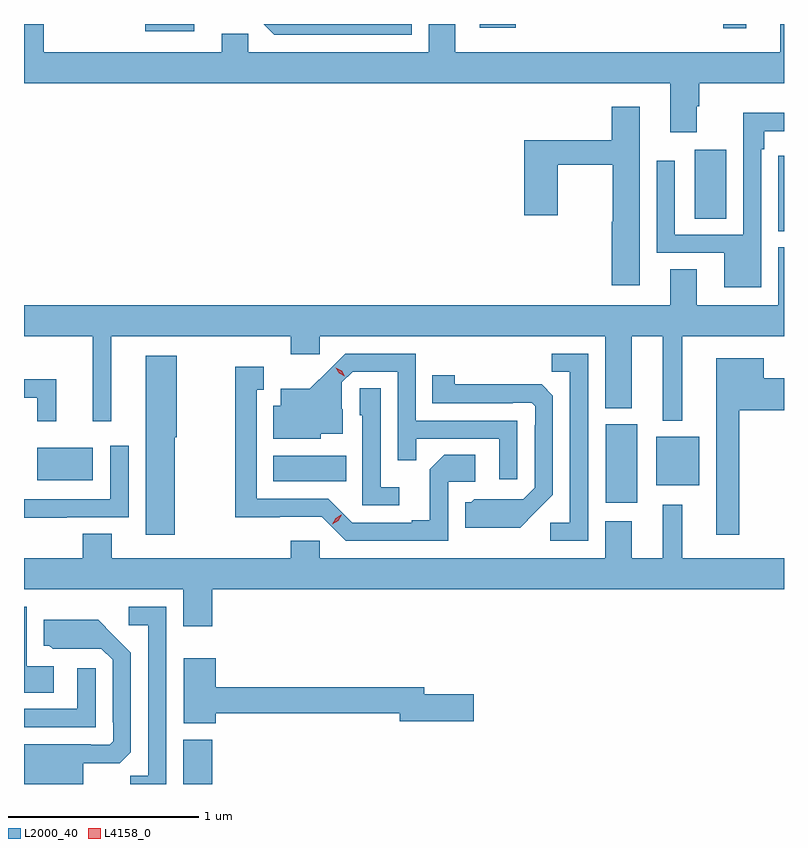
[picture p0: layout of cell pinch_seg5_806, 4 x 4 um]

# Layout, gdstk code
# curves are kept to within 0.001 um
import gdstk
lib = gdstk.Library(unit=1e-6, precision=1e-09)
def R(c, l, rs):  # rectangles x0, y0, x1, y1
    for r in rs: c.add(gdstk.rectangle(r[:2], r[2:], *l))
def P(c, l, *ps):  # polygons
    for p in ps: c.add(gdstk.Polygon(p, *l))
L2000_40 = (2000, 40)
L4158_0 = (4158, 0)

pinch_seg5_806 = lib.new_cell('pinch_seg5_806')
R(pinch_seg5_806, L2000_40, [(804.008,893.032,804.161,893.266), (806.231,894.513,806.398,894.925), (806.498,894.605,806.725,894.859), (804.482,894.626,804.866,894.76), (803.24,894.632,803.533,894.802), (806.699,896.008,806.866,896.371), (803.809,896.994,804.067,897.032), (806.85,897.009,806.971,897.032), (805.569,897.012,805.757,897.032)])
P(pinch_seg5_806, L2000_40, [(807.17,897.032),(807.149,897.032),(807.149,896.884),(805.441,896.884),(805.441,897.032),(805.301,897.032),(805.301,896.884),(804.351,896.884),(804.351,896.982),(804.212,896.982),(804.212,896.884),(803.273,896.884),(803.273,897.032),(803.17,897.032),(803.17,896.72),(806.57,896.72),(806.57,896.463),(806.71,896.463),(806.71,896.6),(806.723,896.6),(806.723,896.72),(807.17,896.72)],
  [(805.212,897.032),(804.432,897.032),(804.488,896.976),(805.212,896.976)],
  [(806.41,896.596),(806.264,896.596),(806.264,896.419),(805.802,896.419),(805.802,896.025),(805.98,896.025),(805.98,896.29),(806.269,896.29),(806.269,895.991),(806.264,895.991),(806.264,895.656),(806.41,895.656)],
  [(807.051,896.372),(807.067,896.372),(807.067,896.468),(807.17,896.468),(807.17,896.566),(806.955,896.566),(806.955,895.923),(806.595,895.923),(806.595,896.311),(806.499,896.311),(806.499,895.827),(806.855,895.827),(806.855,895.646),(807.051,895.646)],
  [(807.17,896.338),(807.141,896.338),(807.141,896.225),(807.14,896.225),(807.14,895.942),(807.17,895.942)],
  [(803.63,895.388),(804.575,895.388),(804.575,895.293),(804.726,895.293),(804.726,895.388),(806.228,895.388),(806.228,895.01),(806.368,895.01),(806.368,895.388),(806.531,895.388),(806.531,894.944),(806.635,894.944),(806.635,895.388),(807.17,895.388),(807.17,895.857),(807.14,895.857),(807.14,895.552),(806.71,895.552),(806.71,895.742),(806.57,895.742),(806.57,895.552),(803.17,895.552),(803.17,895.388),(803.531,895.388),(803.531,894.942),(803.63,894.942)],
  [(805.767,894.945),(805.233,894.945),(805.233,895.296),(804.86,895.296),(804.673,895.111),(804.521,895.111),(804.521,895.024),(804.482,895.024),(804.482,894.848),(804.732,894.848),(804.732,894.875),(804.847,894.875),(804.847,895.004),(804.843,895.004),(804.843,895.146),(804.9,895.203),(805.137,895.203),(805.137,894.736),(805.235,894.736),(805.235,894.849),(805.671,894.849),(805.671,894.636),(805.767,894.636)],
  [(806.139,895.296),(805.948,895.296),(805.948,895.201),(806.043,895.201),(806.043,894.408),(805.941,894.408),(805.941,894.312),(806.139,894.312)],
  [(803.964,894.858),(803.974,894.858),(803.974,895.285),(803.81,895.285),(803.81,894.345),(803.964,894.345)],
  [(806.935,894.998),(807.17,894.998),(807.17,895.168),(807.064,895.168),(807.064,895.273),(806.813,895.273),(806.813,894.345),(806.935,894.345)],
  [(805.404,894.624),(805.546,894.624),(805.546,894.764),(805.381,894.764),(805.305,894.688),(805.305,894.421),(805.211,894.421),(805.211,894.408),(804.897,894.408),(804.771,894.534),(804.394,894.534),(804.394,895.107),(804.433,895.107),(804.433,895.228),(804.283,895.228),(804.283,894.437),(804.738,894.438),(804.864,894.312),(805.404,894.312)],
  [(805.861,894.461),(805.953,894.554),(805.953,895.076),(805.894,895.135),(805.437,895.136),(805.437,895.183),(805.318,895.183),(805.318,895.035),(805.742,895.035),(805.742,895.038),(805.842,895.038),(805.86,895.02),(805.86,894.92),(805.857,894.92),(805.857,894.591),(805.797,894.531),(805.54,894.532),(805.524,894.516),(805.493,894.516),(805.493,894.38),(805.781,894.38)],
  [(803.339,895.161),(803.17,895.161),(803.17,895.065),(803.241,895.065),(803.241,894.942),(803.339,894.942)],
  [(805.144,894.595),(805.047,894.595),(805.047,895.115),(804.936,895.115),(804.936,894.972),(804.951,894.972),(804.951,894.498),(805.144,894.498)],
  [(803.396,894.435),(803.721,894.435),(803.721,894.811),(803.625,894.811),(803.625,894.531),(803.17,894.531),(803.17,894.434),(803.396,894.434)],
  [(804.161,894.056),(807.17,894.056),(807.17,894.22),(806.635,894.22),(806.635,894.502),(806.531,894.502),(806.531,894.22),(806.368,894.22),(806.368,894.415),(806.228,894.415),(806.228,894.22),(804.726,894.22),(804.726,894.313),(804.575,894.313),(804.575,894.22),(803.632,894.22),(803.632,894.35),(803.48,894.35),(803.48,894.22),(803.17,894.22),(803.17,894.056),(804.008,894.056),(804.008,893.862),(804.161,893.862)],
  [(803.326,893.652),(803.184,893.652),(803.184,893.964),(803.17,893.964),(803.17,893.512),(803.326,893.512)],
  [(803.919,893.964),(803.721,893.964),(803.721,893.868),(803.823,893.868),(803.823,893.075),(803.728,893.075),(803.728,893.032),(803.919,893.032)],
  [(803.482,893.141),(803.674,893.141),(803.733,893.2),(803.733,893.722),(803.561,893.896),(803.273,893.896),(803.273,893.76),(803.304,893.76),(803.32,893.744),(803.577,893.745),(803.637,893.685),(803.637,893.356),(803.64,893.356),(803.64,893.256),(803.622,893.238),(803.522,893.238),(803.522,893.242),(803.17,893.242),(803.17,893.032),(803.482,893.032)],
  [(804.178,893.404),(805.148,893.404),(805.148,893.362),(805.537,893.362),(805.537,893.504),(805.276,893.504),(805.276,893.54),(804.178,893.54),(804.178,893.695),(804.011,893.695),(804.011,893.351),(804.178,893.351)],
  [(803.547,893.641),(803.451,893.641),(803.451,893.427),(803.17,893.427),(803.17,893.331),(803.547,893.331)])
P(pinch_seg5_806, L4158_0, [(804.858,895.178),(804.828,895.194),(804.811,895.223),(804.811,895.224),(804.811,895.224),(804.842,895.208),(804.858,895.178),(804.858,895.178)],
  [(804.793,894.398),(804.793,894.398),(804.81,894.431),(804.841,894.45),(804.842,894.45),(804.842,894.449),(804.824,894.417),(804.793,894.398)])

lib.write_gds('pinch_seg5_806.gds')
